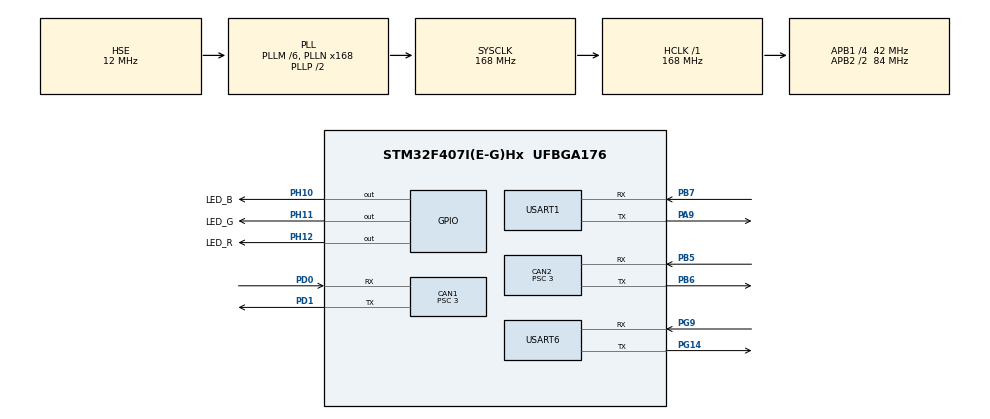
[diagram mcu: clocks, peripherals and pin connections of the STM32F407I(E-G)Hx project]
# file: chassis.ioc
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CAN1.BS1=CAN_BS1_10TQ
CAN1.BS2=CAN_BS2_3TQ
CAN1.CalculateBaudRate=1000000
CAN1.CalculateTimeBit=1000
CAN1.CalculateTimeQuantum=71.42857142857143
CAN1.Prescaler=3
CAN2.BS1=CAN_BS1_10TQ
CAN2.BS2=CAN_BS2_3TQ
CAN2.CalculateBaudRate=1000000
CAN2.CalculateTimeBit=1000
CAN2.CalculateTimeQuantum=71.42857142857143
CAN2.Prescaler=3
FREERTOS.INCLUDE_vTaskDelayUntil=1
FREERTOS.Tasks01=defaultTask,0,128,StartDefaultTask,Default,NULL,Dynamic,NULL,NULL
FREERTOS.configUSE_TIMERS=1
Mcu.Family=STM32F4
Mcu.Name=STM32F407I(E-G)Hx
Mcu.Package=UFBGA176
NVIC.CAN1_RX0_IRQn=true\:5\:0\:false\:false\:true\:true\:true\:true\:true
NVIC.CAN2_RX0_IRQn=true\:5\:0\:false\:false\:true\:true\:true\:true\:true
NVIC.PriorityGroup=NVIC_PRIORITYGROUP_4
NVIC.TIM1_UP_TIM10_IRQn=true\:15\:0\:false\:false\:true\:false\:false\:true\:true
NVIC.TimeBase=TIM1_UP_TIM10_IRQn
NVIC.TimeBaseIP=TIM1
NVIC.USART6_IRQn=true\:5\:0\:false\:false\:true\:true\:true\:true\:true
PA13.Mode=Serial_Wire
PA13.Signal=SYS_JTMS-SWDIO
PA14.Mode=Serial_Wire
PA14.Signal=SYS_JTCK-SWCLK
PA9.Mode=Asynchronous
PA9.Signal=USART1_TX
PB5.Mode=CAN_Activate
PB5.Signal=CAN2_RX
PB6.Mode=CAN_Activate
PB6.Signal=CAN2_TX
PB7.Mode=Asynchronous
PB7.Signal=USART1_RX
PC14-OSC32_IN.Mode=LSE-External-Oscillator
PC14-OSC32_IN.Signal=RCC_OSC32_IN
PC15-OSC32_OUT.Mode=LSE-External-Oscillator
PC15-OSC32_OUT.Signal=RCC_OSC32_OUT
PD0.Mode=CAN_Activate
PD0.Signal=CAN1_RX
PD1.Mode=CAN_Activate
PD1.Signal=CAN1_TX
PG14.Mode=Asynchronous
PG14.Signal=USART6_TX
PG9.Mode=Asynchronous
PG9.Signal=USART6_RX
PH0-OSC_IN.Mode=HSE-External-Oscillator
PH0-OSC_IN.Signal=RCC_OSC_IN
PH1-OSC_OUT.Mode=HSE-External-Oscillator
PH1-OSC_OUT.Signal=RCC_OSC_OUT
PH10.GPIO_Label=LED_B
PH10.Signal=GPIO_Output
PH11.GPIO_Label=LED_G
PH11.Signal=GPIO_Output
PH12.GPIO_Label=LED_R
PH12.Signal=GPIO_Output
ProjectManager.HeapSize=0x200
ProjectManager.StackSize=0x400
ProjectManager.TargetToolchain=MDK-ARM V5.32
RCC.48MHZClocksFreq_Value=84000000
RCC.AHBFreq_Value=168000000
RCC.APB1CLKDivider=RCC_HCLK_DIV4
RCC.APB1Freq_Value=42000000
RCC.APB1TimFreq_Value=84000000
RCC.APB2CLKDivider=RCC_HCLK_DIV2
RCC.APB2Freq_Value=84000000
RCC.APB2TimFreq_Value=168000000
RCC.CortexFreq_Value=168000000
RCC.HCLKFreq_Value=168000000
RCC.HSE_VALUE=12000000
RCC.HSI_VALUE=16000000
RCC.PLLM=6
RCC.PLLN=168
RCC.PLLSourceVirtual=RCC_PLLSOURCE_HSE
RCC.SYSCLKFreq_VALUE=168000000
RCC.SYSCLKSource=RCC_SYSCLKSOURCE_PLLCLK
RCC.VCOOutputFreq_Value=336000000
USART1.VirtualMode=VM_ASYNC
USART6.VirtualMode=VM_ASYNC
VP_FREERTOS_VS_CMSIS_V1.Mode=CMSIS_V1
VP_SYS_VS_tim1.Mode=TIM1
board=custom

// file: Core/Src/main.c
/* USER CODE BEGIN Header */
/**
  ******************************************************************************
  * @file           : main.c
  * @brief          : Main program body
  ******************************************************************************
  * @attention
  *
  * Copyright (c) 2024 STMicroelectronics.
  * All rights reserved.
  *
  * This software is licensed under terms that can be found in the LICENSE file
  * in the root directory of this software component.
  * If no LICENSE file comes with this software, it is provided AS-IS.
  *
  ******************************************************************************
  */
/* USER CODE END Header */
#include "main.h"
#include "cmsis_os.h"
#include "can.h"
#include "usart.h"
#include "gpio.h"

/* USER CODE BEGIN Includes */
#include "bsp_can.h"
#include "CAN_receive.h"
#include "usartx.h"

extern struct _RECEIVE_ receive;
extern struct _SEND_  send;
/* USER CODE END Includes */

void SystemClock_Config(void);
void MX_FREERTOS_Init(void);

/* USER CODE BEGIN 0 */
const motor_measure_t *ID_201_data;

/* USER CODE END 0 */

int main(void)
{

  /* MCU Configuration--------------------------------------------------------*/

  /* Reset of all peripherals, Initializes the Flash interface and the Systick. */
  HAL_Init();

  /* Configure the system clock */
  SystemClock_Config();

  /* Initialize all configured peripherals */
  MX_GPIO_Init();
  MX_CAN1_Init();
  MX_CAN2_Init();
  MX_USART1_UART_Init();
  MX_USART6_UART_Init();
  /* USER CODE BEGIN 2 */
		can_filter_init();
//	__HAL_UART_ENABLE_IT(&huart1, UART_IT_RXNE);  //receive interrupt
//	__HAL_UART_ENABLE_IT(&huart1, UART_IT_IDLE);  //idle interrupt
	__HAL_UART_ENABLE_IT(&huart6, UART_IT_RXNE);  //receive interrupt
	__HAL_UART_ENABLE_IT(&huart6, UART_IT_IDLE);  //idle interrupt

	CAN_cmd_chassis(0,0,0,0);
	ID_201_data=get_chassis_motor_measure_point(0);
  /* USER CODE END 2 */

  /* Call init function for freertos objects (in freertos.c) */
  MX_FREERTOS_Init();

  /* Start scheduler */
  osKernelStart();

  /* We should never get here as control is now taken by the scheduler */
  /* Infinite loop */
  while (1)
  {

  }
}

void SystemClock_Config(void)
{
  RCC_OscInitTypeDef RCC_OscInitStruct = {0};
  RCC_ClkInitTypeDef RCC_ClkInitStruct = {0};

  /** Configure the main internal regulator output voltage
  */
  __HAL_RCC_PWR_CLK_ENABLE();
  __HAL_PWR_VOLTAGESCALING_CONFIG(PWR_REGULATOR_VOLTAGE_SCALE1);

  /** Initializes the RCC Oscillators according to the specified parameters
  * in the RCC_OscInitTypeDef structure.
  */
  RCC_OscInitStruct.OscillatorType = RCC_OSCILLATORTYPE_HSE;
  RCC_OscInitStruct.HSEState = RCC_HSE_ON;
  RCC_OscInitStruct.PLL.PLLState = RCC_PLL_ON;
  RCC_OscInitStruct.PLL.PLLSource = RCC_PLLSOURCE_HSE;
  RCC_OscInitStruct.PLL.PLLM = 6;
  RCC_OscInitStruct.PLL.PLLN = 168;
  RCC_OscInitStruct.PLL.PLLP = RCC_PLLP_DIV2;
  RCC_OscInitStruct.PLL.PLLQ = 4;
  if (HAL_RCC_OscConfig(&RCC_OscInitStruct) != HAL_OK)
  {
    Error_Handler();
  }

  /** Initializes the CPU, AHB and APB buses clocks
  */
  RCC_ClkInitStruct.ClockType = RCC_CLOCKTYPE_HCLK|RCC_CLOCKTYPE_SYSCLK
                              |RCC_CLOCKTYPE_PCLK1|RCC_CLOCKTYPE_PCLK2;
  RCC_ClkInitStruct.SYSCLKSource = RCC_SYSCLKSOURCE_PLLCLK;
  RCC_ClkInitStruct.AHBCLKDivider = RCC_SYSCLK_DIV1;
  RCC_ClkInitStruct.APB1CLKDivider = RCC_HCLK_DIV4;
  RCC_ClkInitStruct.APB2CLKDivider = RCC_HCLK_DIV2;

  if (HAL_RCC_ClockConfig(&RCC_ClkInitStruct, FLASH_LATENCY_5) != HAL_OK)
  {
    Error_Handler();
  }
}

void HAL_TIM_PeriodElapsedCallback(TIM_HandleTypeDef *htim)
{
  if (htim->Instance == TIM1) {
    HAL_IncTick();
  }
}

void Error_Handler(void)
{
  __disable_irq();
  while (1)
  {
  }
}

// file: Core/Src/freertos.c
/* USER CODE BEGIN Header */
/**
  ******************************************************************************
  * File Name          : freertos.c
  * Description        : Code for freertos applications
  ******************************************************************************
  * @attention
  *
  * Copyright (c) 2024 STMicroelectronics.
  * All rights reserved.
  *
  * This software is licensed under terms that can be found in the LICENSE file
  * in the root directory of this software component.
  * If no LICENSE file comes with this software, it is provided AS-IS.
  *
  ******************************************************************************
  */
/* USER CODE END Header */

#include "FreeRTOS.h"
#include "task.h"
#include "main.h"
#include "cmsis_os.h"

/* USER CODE BEGIN Includes */
#include "mytask.h"
#include "usartx.h"
/* USER CODE END Includes */

/* USER CODE BEGIN PTD */

osThreadId motor_handle;
osThreadId usart6_receive_handle;

/* USER CODE END PTD */

osThreadId defaultTaskHandle;

void StartDefaultTask(void const * argument);

void MX_FREERTOS_Init(void); /* (MISRA C 2004 rule 8.1) */

/* GetIdleTaskMemory prototype (linked to static allocation support) */
void vApplicationGetIdleTaskMemory( StaticTask_t **ppxIdleTaskTCBBuffer, StackType_t **ppxIdleTaskStackBuffer, uint32_t *pulIdleTaskStackSize );

/* GetTimerTaskMemory prototype (linked to static allocation support) */
void vApplicationGetTimerTaskMemory( StaticTask_t **ppxTimerTaskTCBBuffer, StackType_t **ppxTimerTaskStackBuffer, uint32_t *pulTimerTaskStackSize );

/* USER CODE BEGIN GET_IDLE_TASK_MEMORY */
static StaticTask_t xIdleTaskTCBBuffer;
static StackType_t xIdleStack[configMINIMAL_STACK_SIZE];

void vApplicationGetIdleTaskMemory( StaticTask_t **ppxIdleTaskTCBBuffer, StackType_t **ppxIdleTaskStackBuffer, uint32_t *pulIdleTaskStackSize )
{
  *ppxIdleTaskTCBBuffer = &xIdleTaskTCBBuffer;
  *ppxIdleTaskStackBuffer = &xIdleStack[0];
  *pulIdleTaskStackSize = configMINIMAL_STACK_SIZE;
  /* place for user code */
}
/* USER CODE END GET_IDLE_TASK_MEMORY */

/* USER CODE BEGIN GET_TIMER_TASK_MEMORY */
static StaticTask_t xTimerTaskTCBBuffer;
static StackType_t xTimerStack[configTIMER_TASK_STACK_DEPTH];

void vApplicationGetTimerTaskMemory( StaticTask_t **ppxTimerTaskTCBBuffer, StackType_t **ppxTimerTaskStackBuffer, uint32_t *pulTimerTaskStackSize )
{
  *ppxTimerTaskTCBBuffer = &xTimerTaskTCBBuffer;
  *ppxTimerTaskStackBuffer = &xTimerStack[0];
  *pulTimerTaskStackSize = configTIMER_TASK_STACK_DEPTH;
  /* place for user code */
}
/* USER CODE END GET_TIMER_TASK_MEMORY */

void MX_FREERTOS_Init(void) {

  /* Create the thread(s) */
  /* definition and creation of defaultTask */
  osThreadDef(defaultTask, StartDefaultTask, osPriorityNormal, 0, 128);
  defaultTaskHandle = osThreadCreate(osThread(defaultTask), NULL);

  /* USER CODE BEGIN RTOS_THREADS */
  /* add threads, ... */
	osThreadDef(usart6_receive,excute_received_cmd,osPriorityNormal, 0, 256);
		usart6_receive_handle = osThreadCreate(osThread(usart6_receive), NULL);
	  osThreadDef(motor,motor_task,osPriorityNormal, 0, 256);
    motor_handle = osThreadCreate(osThread(motor), NULL);

  /* USER CODE END RTOS_THREADS */

}

void StartDefaultTask(void const * argument)
{
  for(;;)
  {
    osDelay(1);
  }
}
